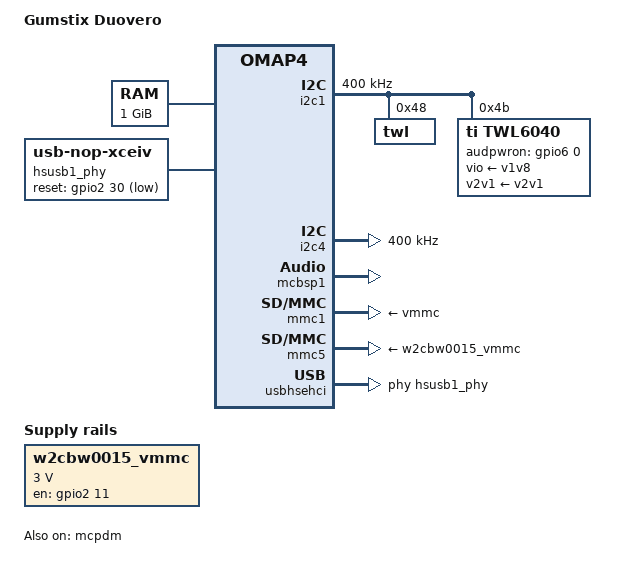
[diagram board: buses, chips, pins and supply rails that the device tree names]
/*
 * Copyright (C) 2014 Florian Vaussard, EPFL Mobots group
 *
 * This program is free software; you can redistribute it and/or modify
 * it under the terms of the GNU General Public License version 2 as
 * published by the Free Software Foundation.
 */

#include "omap443x.dtsi"

/ {
	model = "Gumstix Duovero";
	compatible = "gumstix,omap4-duovero", "ti,omap4430", "ti,omap4";

	chosen {
		stdout-path = &uart3;
	};

	memory@80000000 {
		device_type = "memory";
		reg = <0x80000000 0x40000000>; /* 1 GB */
	};

	sound {
		compatible = "ti,abe-twl6040";
		ti,model = "DuoVero";

		ti,mclk-freq = <38400000>;

		ti,mcpdm = <&mcpdm>;

		ti,twl6040 = <&twl6040>;

		/* Audio routing */
		ti,audio-routing =
			"Headset Stereophone", "HSOL",
			"Headset Stereophone", "HSOR",
			"HSMIC", "Headset Mic",
			"Headset Mic", "Headset Mic Bias";
	};

	/* HS USB Host PHY on PORT 1 */
	hsusb1_phy: hsusb1_phy {
		compatible = "usb-nop-xceiv";
		reset-gpios = <&gpio2 30 GPIO_ACTIVE_LOW>;	/* gpio_62 */

		pinctrl-names = "default";
		pinctrl-0 = <&hsusb1phy_pins>;

		clocks = <&auxclk3_ck>;
		clock-names = "main_clk";
		clock-frequency = <19200000>;
	};

	/* regulator for w2cbw0015 on sdio5 */
	w2cbw0015_vmmc: w2cbw0015_vmmc {
		pinctrl-names = "default";
		pinctrl-0 = <&w2cbw0015_pins>;
		compatible = "regulator-fixed";
		regulator-name = "w2cbw0015";
		regulator-min-microvolt = <3000000>;
		regulator-max-microvolt = <3000000>;
		gpio = <&gpio2 11 GPIO_ACTIVE_LOW>;		/* gpio_43 */
		startup-delay-us = <70000>;
		enable-active-high;
		regulator-boot-on;
	};
};

&omap4_pmx_core {
	pinctrl-names = "default";
	pinctrl-0 = <
			&twl6040_pins
			&hsusbb1_pins
	>;

	twl6040_pins: pinmux_twl6040_pins {
		pinctrl-single,pins = <
			OMAP4_IOPAD(0x166, PIN_OUTPUT | MUX_MODE3)		/* usbb2_ulpitll_nxt.gpio_160 */
			OMAP4_IOPAD(0x1a0, PIN_INPUT | MUX_MODE0)		/* sys_nirq2.sys_nirq2 */
		>;
	};

	mcpdm_pins: pinmux_mcpdm_pins {
		pinctrl-single,pins = <
			OMAP4_IOPAD(0x106, PIN_INPUT_PULLDOWN | MUX_MODE0)	/* abe_pdm_ul_data.abe_pdm_ul_data */
			OMAP4_IOPAD(0x108, PIN_INPUT_PULLDOWN | MUX_MODE0)	/* abe_pdm_dl_data.abe_pdm_dl_data */
			OMAP4_IOPAD(0x10a, PIN_INPUT_PULLUP   | MUX_MODE0)	/* abe_pdm_frame.abe_pdm_frame */
			OMAP4_IOPAD(0x10c, PIN_INPUT_PULLDOWN | MUX_MODE0)	/* abe_pdm_lb_clk.abe_pdm_lb_clk */
			OMAP4_IOPAD(0x10e, PIN_INPUT_PULLDOWN | MUX_MODE0)	/* abe_clks.abe_clks */
		>;
	};

	mcbsp1_pins: pinmux_mcbsp1_pins {
		pinctrl-single,pins = <
			OMAP4_IOPAD(0x0fe, PIN_INPUT | MUX_MODE0)		/* abe_mcbsp1_clkx.abe_mcbsp1_clkx */
			OMAP4_IOPAD(0x100, PIN_INPUT_PULLDOWN | MUX_MODE0)	/* abe_mcbsp1_dr.abe_mcbsp1_dr */
			OMAP4_IOPAD(0x102, PIN_OUTPUT_PULLDOWN | MUX_MODE0)	/* abe_mcbsp1_dx.abe_mcbsp1_dx */
			OMAP4_IOPAD(0x104, PIN_INPUT | MUX_MODE0)		/* abe_mcbsp1_fsx.abe_mcbsp1_fsx */
		>;
	};

	hsusbb1_pins: pinmux_hsusbb1_pins {
		pinctrl-single,pins = <
			OMAP4_IOPAD(0x0c2, PIN_INPUT_PULLDOWN | MUX_MODE4)	/* usbb1_ulpitll_clk.usbb1_ulpiphy_clk */
			OMAP4_IOPAD(0x0c4, PIN_OUTPUT | MUX_MODE4)		/* usbb1_ulpitll_stp.usbb1_ulpiphy_stp */
			OMAP4_IOPAD(0x0c6, PIN_INPUT_PULLDOWN | MUX_MODE4)	/* usbb1_ulpitll_dir.usbb1_ulpiphy_dir */
			OMAP4_IOPAD(0x0c8, PIN_INPUT_PULLDOWN | MUX_MODE4)	/* usbb1_ulpitll_nxt.usbb1_ulpiphy_nxt */
			OMAP4_IOPAD(0x0ca, PIN_INPUT_PULLDOWN | MUX_MODE4)	/* usbb1_ulpitll_dat0.usbb1_ulpiphy_dat0 */
			OMAP4_IOPAD(0x0cc, PIN_INPUT_PULLDOWN | MUX_MODE4)	/* usbb1_ulpitll_dat1.usbb1_ulpiphy_dat1 */
			OMAP4_IOPAD(0x0ce, PIN_INPUT_PULLDOWN | MUX_MODE4)	/* usbb1_ulpitll_dat2.usbb1_ulpiphy_dat2 */
			OMAP4_IOPAD(0x0d0, PIN_INPUT_PULLDOWN | MUX_MODE4)	/* usbb1_ulpitll_dat3.usbb1_ulpiphy_dat3 */
			OMAP4_IOPAD(0x0d2, PIN_INPUT_PULLDOWN | MUX_MODE4)	/* usbb1_ulpitll_dat4.usbb1_ulpiphy_dat4 */
			OMAP4_IOPAD(0x0d4, PIN_INPUT_PULLDOWN | MUX_MODE4)	/* usbb1_ulpitll_dat5.usbb1_ulpiphy_dat5 */
			OMAP4_IOPAD(0x0d6, PIN_INPUT_PULLDOWN | MUX_MODE4)	/* usbb1_ulpitll_dat6.usbb1_ulpiphy_dat6 */
			OMAP4_IOPAD(0x0d8, PIN_INPUT_PULLDOWN | MUX_MODE4)	/* usbb1_ulpitll_dat7.usbb1_ulpiphy_dat7 */
		>;
	};

	hsusb1phy_pins: pinmux_hsusb1phy_pins {
		pinctrl-single,pins = <
			OMAP4_IOPAD(0x08c, PIN_OUTPUT | MUX_MODE3)		/* gpmc_wait1.gpio_62 */
		>;
	};

	w2cbw0015_pins: pinmux_w2cbw0015_pins {
		pinctrl-single,pins = <
			OMAP4_IOPAD(0x066, PIN_OUTPUT | MUX_MODE3)		/* gpmc_a19.gpio_43 */
			OMAP4_IOPAD(0x07a, PIN_INPUT | MUX_MODE3)		/* gpmc_ncs3.gpio_53 */
		>;
	};

	i2c1_pins: pinmux_i2c1_pins {
		pinctrl-single,pins = <
			OMAP4_IOPAD(0x122, PIN_INPUT_PULLUP | MUX_MODE0)	/* i2c1_scl */
			OMAP4_IOPAD(0x124, PIN_INPUT_PULLUP | MUX_MODE0)	/* i2c1_sda */
		>;
	};

	i2c4_pins: pinmux_i2c4_pins {
		pinctrl-single,pins = <
			OMAP4_IOPAD(0x12e, PIN_INPUT_PULLUP | MUX_MODE0)	/* i2c4_scl */
			OMAP4_IOPAD(0x130, PIN_INPUT_PULLUP | MUX_MODE0)	/* i2c4_sda */
		>;
	};

	mmc1_pins: pinmux_mmc1_pins {
		pinctrl-single,pins = <
			OMAP4_IOPAD(0x0e2, PIN_INPUT_PULLUP | MUX_MODE0)	/* sdmmc1_clk */
			OMAP4_IOPAD(0x0e4, PIN_INPUT_PULLUP | MUX_MODE0)	/* sdmcc1_cmd */
			OMAP4_IOPAD(0x0e6, PIN_INPUT_PULLUP | MUX_MODE0)	/* sdmcc1_dat0 */
			OMAP4_IOPAD(0x0e8, PIN_INPUT_PULLUP | MUX_MODE0)	/* sdmmc1_dat1 */
			OMAP4_IOPAD(0x0ea, PIN_INPUT_PULLUP | MUX_MODE0)	/* sdmmc1_dat2 */
			OMAP4_IOPAD(0x0ec, PIN_INPUT_PULLUP | MUX_MODE0)	/* sdmmc1_dat3 */
		>;
	};

	mmc5_pins: pinmux_mmc5_pins {
		pinctrl-single,pins = <
			OMAP4_IOPAD(0x148, PIN_INPUT_PULLUP | MUX_MODE0)	/* sdmmc5_clk */
			OMAP4_IOPAD(0x14a, PIN_INPUT_PULLUP | MUX_MODE0)	/* sdmcc5_cmd */
			OMAP4_IOPAD(0x14c, PIN_INPUT_PULLUP | MUX_MODE0)	/* sdmcc5_dat0 */
			OMAP4_IOPAD(0x14e, PIN_INPUT_PULLUP | MUX_MODE0)	/* sdmmc5_dat1 */
			OMAP4_IOPAD(0x150, PIN_INPUT_PULLUP | MUX_MODE0)	/* sdmmc5_dat2 */
			OMAP4_IOPAD(0x152, PIN_INPUT_PULLUP | MUX_MODE0)	/* sdmmc5_dat3 */
		>;
	};
};

/* PMIC */
&i2c1 {
	pinctrl-names = "default";
	pinctrl-0 = <&i2c1_pins>;

	clock-frequency = <400000>;

	twl: twl@48 {
		reg = <0x48>;
		interrupts = <GIC_SPI 7 IRQ_TYPE_LEVEL_HIGH>;		/* IRQ_SYS_1N cascaded to gic */
	};

	twl6040: twl@4b {
		compatible = "ti,twl6040";
		#clock-cells = <0>;
		reg = <0x4b>;
		interrupts = <GIC_SPI 119 IRQ_TYPE_LEVEL_HIGH>;		/* IRQ_SYS_2N cascaded to gic */
		ti,audpwron-gpio = <&gpio6 0 GPIO_ACTIVE_HIGH>;		/* gpio_160 */

		vio-supply = <&v1v8>;
		v2v1-supply = <&v2v1>;
		enable-active-high;
	};
};

#include "twl6030.dtsi"
#include "twl6030_omap4.dtsi"

/* on-board bluetooth / WiFi module */
&i2c4 {
	pinctrl-names = "default";
	pinctrl-0 = <&i2c4_pins>;

	clock-frequency = <400000>;
};

&mcbsp1 {
	pinctrl-names = "default";
	pinctrl-0 = <&mcbsp1_pins>;
	status = "okay";
};

&mcpdm {
	pinctrl-names = "default";
	pinctrl-0 = <&mcpdm_pins>;

	clocks = <&twl6040>;
	clock-names = "pdmclk";

	status = "okay";
};

&mmc1 {
	pinctrl-names = "default";
	pinctrl-0 = <&mmc1_pins>;

	vmmc-supply = <&vmmc>;
	ti,bus-width = <4>;
	ti,non-removable;		/* FIXME: use PMIC_MMC detect */
};

&mmc2 {
	status = "disabled";
};

/* mmc3 is available to the expansion board */

&mmc4 {
	status = "disabled";
};

/* on-board WiFi module */
&mmc5 {
	pinctrl-names = "default";
	pinctrl-0 = <&mmc5_pins>;

	vmmc-supply = <&w2cbw0015_vmmc>;
	ti,bus-width = <4>;
	ti,non-removable;
	cap-power-off-card;
};

&twl_usb_comparator {
	usb-supply = <&vusb>;
};

&usb_otg_hs {
	interface-type = <1>;
	mode = <3>;
	power = <50>;
};

&usbhshost {
	port1-mode = "ehci-phy";
};

&usbhsehci {
	phys = <&hsusb1_phy>;
};

